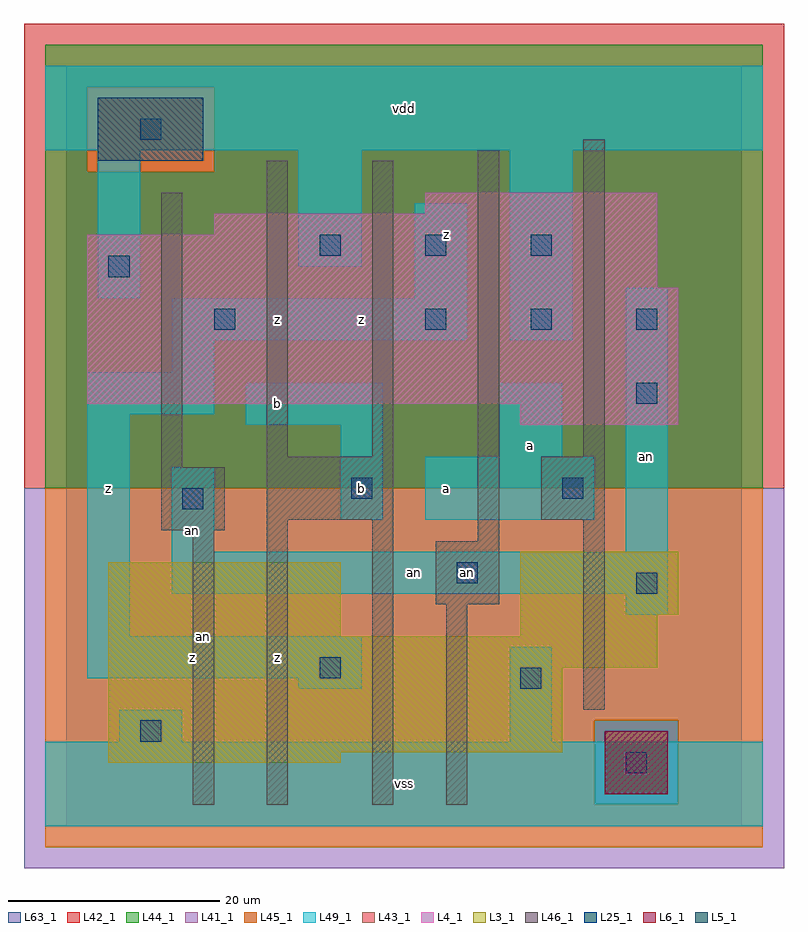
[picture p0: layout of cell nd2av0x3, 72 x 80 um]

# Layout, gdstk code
import gdstk
lib = gdstk.Library(unit=1e-6, precision=1e-09)
def R(c, l, rs):  # rectangles x0, y0, x1, y1
    for r in rs: c.add(gdstk.rectangle(r[:2], r[2:], *l))
def A(c, l, x, y, w, h, nx, ny, dx, dy):  # array of equal rectangles
    R(c, l, [(x+i*dx, y+j*dy, x+i*dx+w, y+j*dy+h) for i in range(nx) for j in range(ny)])
L3_1 = (3, 1)
L4_1 = (4, 1)
L5_1 = (5, 1)
L6_1 = (6, 1)
L25_1 = (25, 1)
L41_1 = (41, 1)
L42_1 = (42, 1)
L43_1 = (43, 1)
L44_1 = (44, 1)
L45_1 = (45, 1)
L46_1 = (46, 1)
L49_1 = (49, 1)
L63_1 = (63, 1)

nd2av0x3 = lib.new_cell('nd2av0x3')
R(nd2av0x3, L3_1, [(4,6,26,7), (4,7,47,15), (4,15,56,18), (4,18,26,25), (43,18,56,20), (43,20,58,26)])
R(nd2av0x3, L4_1, [(43,38,58,40), (2,40,58,51), (2,51,56,56), (14,56,56,58), (34,58,56,60)])
R(nd2av0x3, L5_1, [(3,63,13,69)])
R(nd2av0x3, L6_1, [(51,3,57,9), (51,3,57,9)])
A(nd2av0x3, L25_1, 34, 47, 2, 2, 3, 1, 10, 0)
A(nd2av0x3, L25_1, 24, 54, 2, 2, 3, 1, 10, 0)
R(nd2av0x3, L25_1, [(53,5,55,7), (7,8,9,10), (43,13,45,15), (24,14,26,16), (54,22,56,24), (37,23,39,25), (11,30,13,32), (27,31,29,33), (47,31,49,33), (54,40,56,42), (14,47,16,49), (4,52,6,54), (7,65,9,67)])
R(nd2av0x3, L41_1, [(-4,-4,68,32)])
R(nd2av0x3, L42_1, [(-4,32,68,76)])
R(nd2av0x3, L43_1, [(51,3,57,9), (4,6,26,7), (4,7,47,15), (4,15,56,18), (4,18,26,25), (43,18,56,20), (43,20,58,26), (43,38,58,40), (2,40,58,51), (2,51,56,56), (14,56,56,58), (34,58,56,60), (3,63,13,69)])
R(nd2av0x3, L44_1, [(50,2,58,10), (-2,32,66,62), (-2,62,2,70), (14,62,66,70), (-2,70,66,74)])
R(nd2av0x3, L45_1, [(-2,-2,66,2), (-2,2,50,10), (58,2,66,10), (-2,10,66,32), (2,62,14,70)])
R(nd2av0x3, L46_1, [(12,2,14,28), (19,2,21,29), (29,2,31,29), (36,2,38,21), (49,11,51,29), (35,21,41,27), (39,27,41,64), (9,28,15,34), (19,29,31,35), (45,29,51,35), (9,34,11,60), (19,35,21,63), (29,35,31,63), (49,35,51,65)])
R(nd2av0x3, L49_1, [(-2,0,66,8), (5,8,11,11), (42,8,46,17), (22,13,28,14), (2,14,28,18), (2,18,6,39), (53,20,57,22), (10,22,57,26), (10,26,14,34), (53,26,57,51), (26,29,30,38), (34,29,50,35), (41,35,47,42), (17,38,30,42), (2,39,14,43), (10,43,14,46), (10,46,38,50), (42,46,48,64), (3,50,7,64), (33,50,38,59), (22,53,28,64), (-2,64,66,72)])
R(nd2av0x3, L63_1, [(0,0,64,72)])
nd2av0x3.add(gdstk.Label('an', (13,18), layer=46, texttype=1))
nd2av0x3.add(gdstk.Label('an', (38,24), layer=49, texttype=1))
nd2av0x3.add(gdstk.Label('z', (12,16), layer=49, texttype=1))
nd2av0x3.add(gdstk.Label('an', (12,28), layer=49, texttype=1))
nd2av0x3.add(gdstk.Label('z', (4,32), layer=49, texttype=1))
nd2av0x3.add(gdstk.Label('z', (20,16), layer=49, texttype=1))
nd2av0x3.add(gdstk.Label('b', (28,32), layer=49, texttype=1))
nd2av0x3.add(gdstk.Label('b', (20,40), layer=49, texttype=1))
nd2av0x3.add(gdstk.Label('z', (20,48), layer=49, texttype=1))
nd2av0x3.add(gdstk.Label('z', (28,48), layer=49, texttype=1))
nd2av0x3.add(gdstk.Label('vss', (32,4), layer=49, texttype=1))
nd2av0x3.add(gdstk.Label('a', (36,32), layer=49, texttype=1))
nd2av0x3.add(gdstk.Label('a', (44,36), layer=49, texttype=1))
nd2av0x3.add(gdstk.Label('z', (36,56), layer=49, texttype=1))
nd2av0x3.add(gdstk.Label('vdd', (32,68), layer=49, texttype=1))
nd2av0x3.add(gdstk.Label('an', (33,24), layer=49, texttype=1))
nd2av0x3.add(gdstk.Label('an', (55,35), layer=49, texttype=1))

lib.write_gds('nd2av0x3.gds')
